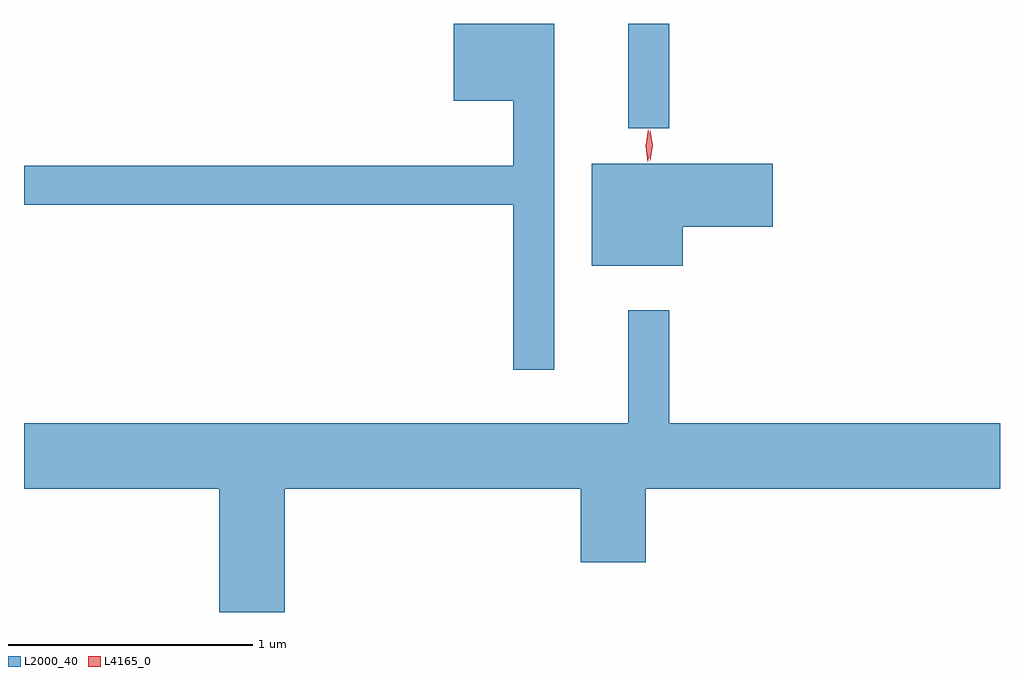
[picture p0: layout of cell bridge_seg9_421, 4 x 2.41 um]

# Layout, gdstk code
import gdstk
lib = gdstk.Library(unit=1e-6, precision=1e-09)
def R(c, l, rs):  # rectangles x0, y0, x1, y1
    for r in rs: c.add(gdstk.rectangle(r[:2], r[2:], *l))
def P(c, l, *ps):  # polygons
    for p in ps: c.add(gdstk.Polygon(p, *l))
L2000_40 = (2000, 40)
L4165_0 = (4165, 0)

bridge_seg9_421 = lib.new_cell('bridge_seg9_421')
R(bridge_seg9_421, L2000_40, [(395.091,2082.093,395.259,2082.522)])
P(bridge_seg9_421, L2000_40, [(394.789,2082.522),(394.376,2082.522),(394.376,2082.206),(394.621,2082.206),(394.621,2081.939),(392.615,2081.939),(392.615,2081.781),(394.621,2081.781),(394.621,2081.103),(394.789,2081.103)],
  [(395.314,2081.691),(395.684,2081.691),(395.684,2081.949),(394.941,2081.949),(394.941,2081.531),(395.314,2081.531)],
  [(393.684,2080.616),(394.896,2080.616),(394.896,2080.316),(395.164,2080.316),(395.164,2080.616),(396.615,2080.616),(396.615,2080.884),(395.259,2080.884),(395.259,2081.347),(395.091,2081.347),(395.091,2080.884),(392.615,2080.884),(392.615,2080.616),(393.416,2080.616),(393.416,2080.11),(393.684,2080.11)])
P(bridge_seg9_421, L4165_0, [(395.171,2081.954),(395.163,2082.022),(395.173,2082.09),(395.173,2082.09),(395.174,2082.09),(395.183,2082.022),(395.172,2081.954),(395.172,2081.954)],
  [(395.181,2081.96),(395.171,2082.024),(395.181,2082.086),(395.181,2082.087),(395.182,2082.086),(395.192,2082.024),(395.182,2081.96),(395.182,2081.96)])

lib.write_gds('bridge_seg9_421.gds')
